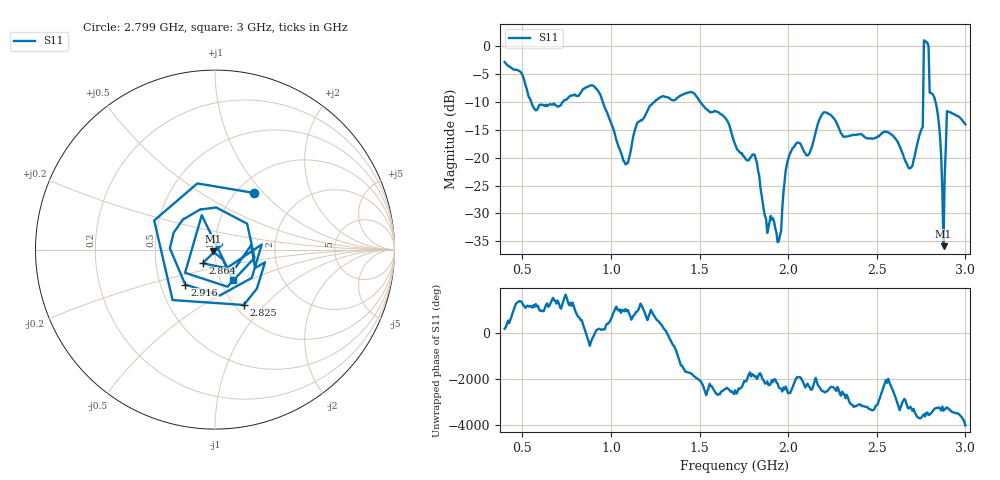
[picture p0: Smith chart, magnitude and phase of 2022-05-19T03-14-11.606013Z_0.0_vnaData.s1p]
!Created with skrf (http://scikit-rf.org).
# Hz S RI R 50.0
!freq ReS11 ImS11
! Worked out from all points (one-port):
!   401 points, 400 MHz to 3 GHz, reference 50 ohm
!   lowest |S11| = -35.9 dB at 2.877 GHz (marker M1), VSWR 1.03, Z = 48.8 - j0.974 ohm
!   |S11| at or under -10 dB: 550.8 MHz to 728.1 MHz (177.3 MHz wide, 27.7 % of centre); 953.9 MHz to 1.245 GHz (291.2 MHz wide, 26.5 % of centre); 1.505 GHz to 2.761 GHz (1.257 GHz wide, 58.9 % of centre) (the widest 3 of 4)
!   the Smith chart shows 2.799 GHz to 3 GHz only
!   S11 on the Smith chart (normalised r, x): 2.799 GHz: 1.20, +0.89; 2.825 GHz: 1.10, -0.77; 2.864 GHz: 0.86, -0.13; 2.916 GHz: 0.67, -0.28; 3 GHz: 1.15, -0.41
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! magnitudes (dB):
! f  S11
! 400 MHz  -2.8
! 569 MHz  -11.2
! 725 MHz  -10.1
! 907 MHz  -7.2
! 1.05 GHz  -18.5
! 1.089 GHz  -21.0
! 1.226 GHz  -10.6
! 1.375 GHz  -9.2
! 1.7 GHz  -17.6
! 1.81 GHz  -19.5
! 1.875 GHz  -31.0
! 1.947 GHz  -35.0
! 1.992 GHz  -21.3
! 2.025 GHz  -18.3
! 2.116 GHz  -19.4
! 2.207 GHz  -11.9
! 2.35 GHz  -16.0
! 2.571 GHz  -15.5
! 2.675 GHz  -21.5
! 2.747 GHz  -15.4
! 2.779 GHz  0.7
! 2.799 GHz  -8.3
! 2.825 GHz  -9.2
! 2.85 GHz  -13.9
! 2.864 GHz  -19.8
! 2.877 GHz  -35.9
! 2.916 GHz  -11.8
! 3 GHz  -14.0
